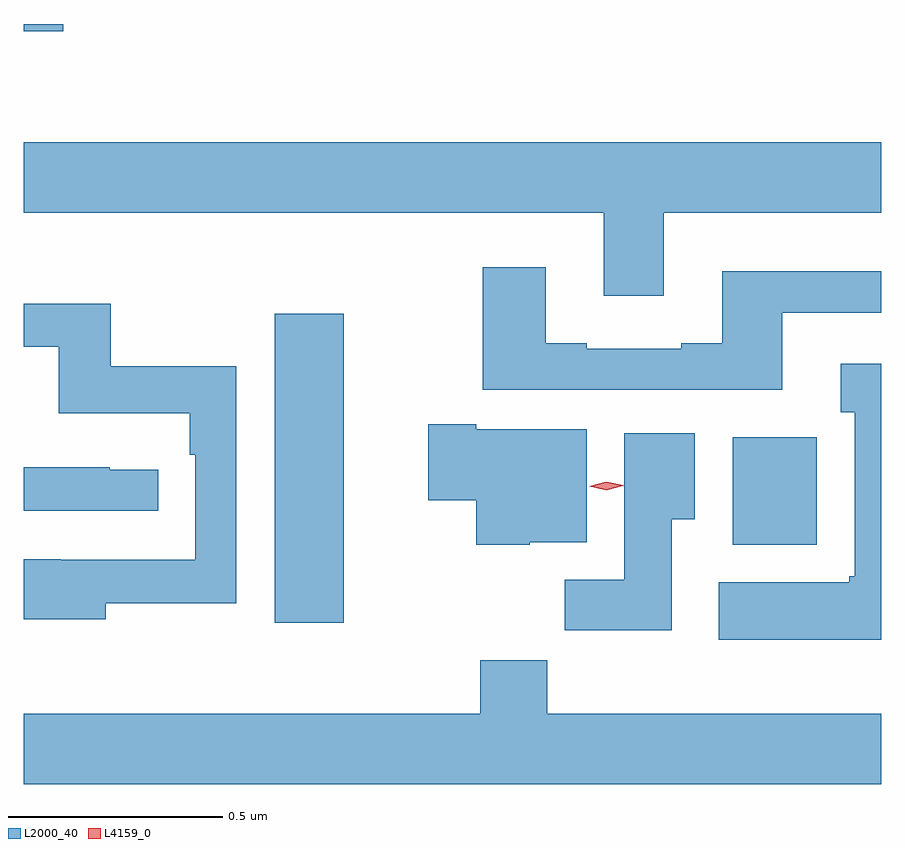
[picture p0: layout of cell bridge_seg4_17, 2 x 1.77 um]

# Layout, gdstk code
import gdstk
lib = gdstk.Library(unit=1e-6, precision=1e-09)
def R(c, l, rs):  # rectangles x0, y0, x1, y1
    for r in rs: c.add(gdstk.rectangle(r[:2], r[2:], *l))
def P(c, l, *ps):  # polygons
    for p in ps: c.add(gdstk.Polygon(p, *l))
L2000_40 = (2000, 40)
L4159_0 = (4159, 0)

bridge_seg4_17 = lib.new_cell('bridge_seg4_17')
R(bridge_seg4_17, L2000_40, [(1128.587,761.232,1128.748,761.953), (1129.655,761.414,1129.851,761.665), (1128.002,762.611,1128.094,762.628)])
P(bridge_seg4_17, L2000_40, [(1129.495,762.188),(1130.002,762.188),(1130.002,762.352),(1128.002,762.352),(1128.002,762.188),(1129.355,762.188),(1129.355,761.994),(1129.495,761.994)],
  [(1129.771,761.955),(1130.002,761.955),(1130.002,762.052),(1129.631,762.052),(1129.631,761.884),(1129.535,761.884),(1129.535,761.871),(1129.315,761.871),(1129.315,761.884),(1129.219,761.884),(1129.219,762.061),(1129.072,762.061),(1129.072,761.775),(1129.771,761.775)],
  [(1128.193,761.278),(1128.498,761.278),(1128.498,761.83),(1128.205,761.83),(1128.205,761.976),(1128.002,761.976),(1128.002,761.875),(1128.084,761.875),(1128.084,761.72),(1128.389,761.72),(1128.389,761.624),(1128.402,761.624),(1128.402,761.379),(1128.089,761.379),(1128.089,761.38),(1128.002,761.38),(1128.002,761.24),(1128.193,761.24)],
  [(1130.002,761.836),(1129.907,761.836),(1129.907,761.723),(1129.94,761.723),(1129.94,761.34),(1129.927,761.34),(1129.927,761.326),(1129.623,761.326),(1129.623,761.192),(1130.002,761.192)],
  [(1129.182,761.42),(1129.315,761.42),(1129.315,761.683),(1129.057,761.683),(1129.057,761.695),(1128.945,761.695),(1128.945,761.518),(1129.057,761.518),(1129.057,761.414),(1129.182,761.414)],
  [(1129.513,761.473),(1129.567,761.473),(1129.567,761.674),(1129.403,761.674),(1129.403,761.332),(1129.264,761.332),(1129.264,761.214),(1129.513,761.214)],
  [(1128.316,761.589),(1128.203,761.589),(1128.203,761.594),(1128.002,761.594),(1128.002,761.493),(1128.316,761.493)],
  [(1130.002,761.02),(1129.223,761.02),(1129.223,761.144),(1129.067,761.144),(1129.067,761.02),(1128.002,761.02),(1128.002,760.856),(1130.002,760.856)])
P(bridge_seg4_17, L4159_0, [(1129.361,761.541),(1129.321,761.55),(1129.321,761.55),(1129.321,761.55),(1129.36,761.561),(1129.4,761.552),(1129.4,761.551),(1129.4,761.551)])

lib.write_gds('bridge_seg4_17.gds')
